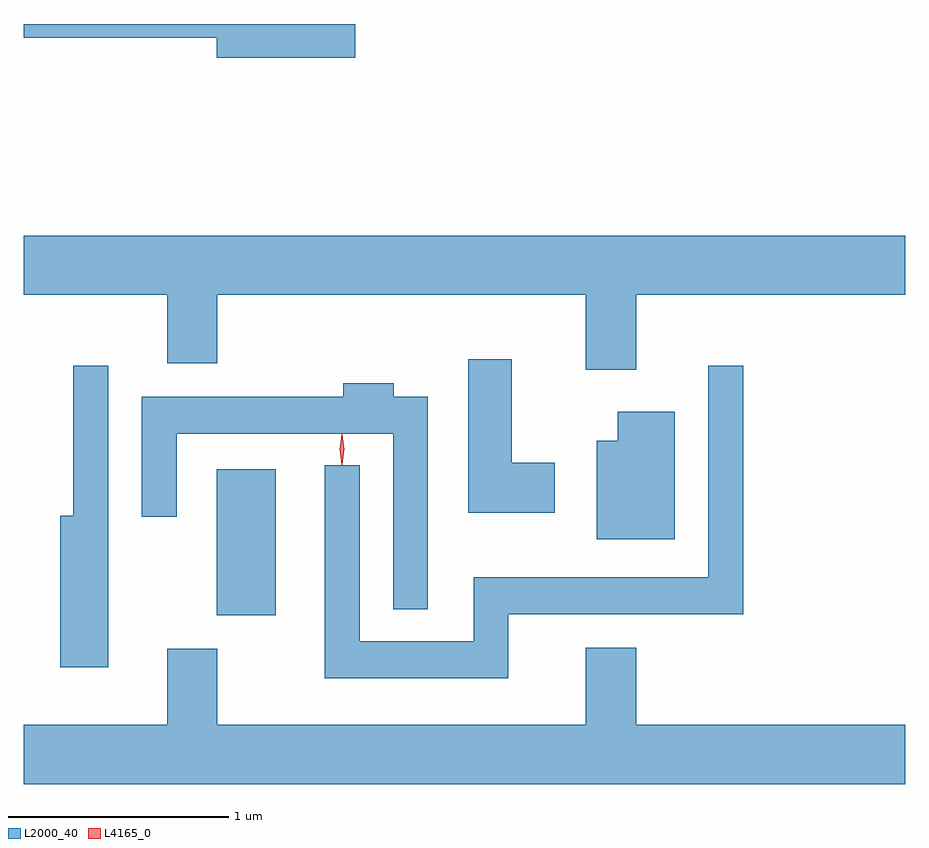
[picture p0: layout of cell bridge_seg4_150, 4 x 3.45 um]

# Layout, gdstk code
import gdstk
lib = gdstk.Library(unit=1e-6, precision=1e-09)
def R(c, l, rs):  # rectangles x0, y0, x1, y1
    for r in rs: c.add(gdstk.rectangle(r[:2], r[2:], *l))
def P(c, l, *ps):  # polygons
    for p in ps: c.add(gdstk.Polygon(p, *l))
L2000_40 = (2000, 40)
L4165_0 = (4165, 0)

bridge_seg4_150 = lib.new_cell('bridge_seg4_150')
R(bridge_seg4_150, L2000_40, [(936.396,1315.481,936.664,1316.144)])
P(bridge_seg4_150, L2000_40, [(937.024,1318.164),(935.52,1318.164),(935.52,1318.101),(936.396,1318.101),(936.396,1318.011),(937.024,1318.011)],
  [(938.299,1316.936),(939.52,1316.936),(939.52,1317.204),(935.52,1317.204),(935.52,1316.936),(936.171,1316.936),(936.171,1316.626),(936.399,1316.626),(936.399,1316.936),(938.071,1316.936),(938.071,1316.596),(938.299,1316.596)],
  [(937.929,1316.174),(937.734,1316.174),(937.734,1316.644),(937.536,1316.644),(937.536,1315.946),(937.929,1315.946)],
  [(935.904,1316.613),(935.746,1316.613),(935.746,1315.934),(935.686,1315.934),(935.686,1315.246),(935.904,1315.246)],
  [(937.719,1315.486),(938.784,1315.486),(938.784,1316.613),(938.626,1316.613),(938.626,1315.654),(937.561,1315.654),(937.561,1315.364),(937.044,1315.364),(937.044,1316.163),(936.886,1316.163),(936.886,1315.196),(937.719,1315.196)],
  [(937.354,1316.474),(937.199,1316.474),(937.199,1316.534),(936.971,1316.534),(936.971,1316.474),(936.056,1316.474),(936.056,1315.928),(936.214,1315.928),(936.214,1316.306),(937.196,1316.306),(937.196,1315.508),(937.354,1315.508)],
  [(938.474,1316.404),(938.216,1316.404),(938.216,1316.274),(938.121,1316.274),(938.121,1315.826),(938.474,1315.826)],
  [(939.52,1314.984),(938.299,1314.984),(938.299,1315.334),(938.071,1315.334),(938.071,1314.984),(936.399,1314.984),(936.399,1315.329),(936.171,1315.329),(936.171,1314.984),(935.52,1314.984),(935.52,1314.716),(939.52,1314.716)])
P(bridge_seg4_150, L4165_0, [(936.964,1316.164),(936.964,1316.164),(936.954,1316.234),(936.964,1316.302),(936.964,1316.303),(936.965,1316.302),(936.974,1316.234),(936.965,1316.164)],
  [(936.964,1316.167),(936.955,1316.234),(936.964,1316.3),(936.965,1316.3),(936.965,1316.3),(936.975,1316.234),(936.965,1316.167),(936.965,1316.167)])

lib.write_gds('bridge_seg4_150.gds')
